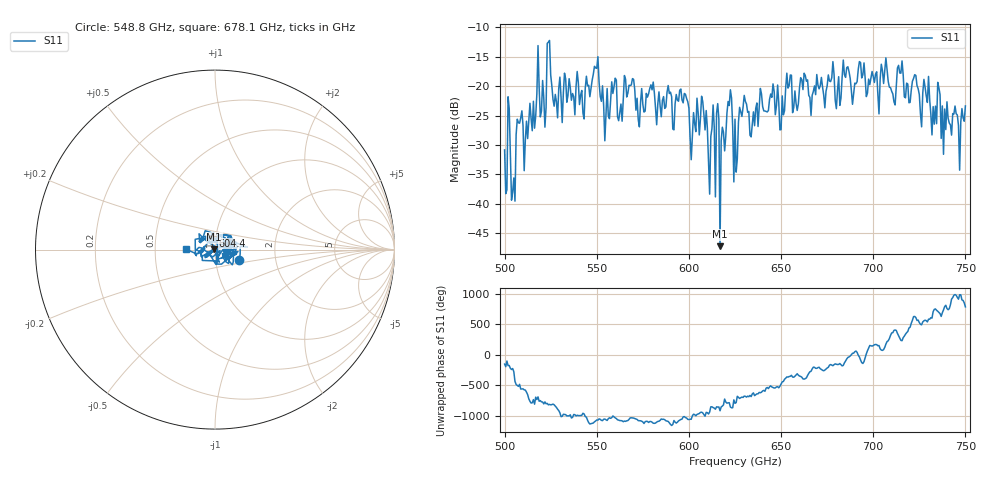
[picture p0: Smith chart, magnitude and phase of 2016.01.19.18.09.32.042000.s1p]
!Created with skrf (http://scikit-rf.org).
# GHz S RI R 50.0
!freq ReS11 ImS11
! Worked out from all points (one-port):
!   401 points, 500 GHz to 750 GHz, reference 50 ohm
!   lowest |S11| = -47.2 dB at 616.9 GHz (marker M1), VSWR 1.01, Z = 49.6 + j0.16 ohm
!   |S11| at or under -10 dB: start of sweep to end of sweep
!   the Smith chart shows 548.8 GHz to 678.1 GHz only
!   S11 on the Smith chart (normalised r, x): 548.8 GHz: 1.30, -0.16; 604.4 GHz: 0.97, +0.15; 678.1 GHz: 0.72, +0.00
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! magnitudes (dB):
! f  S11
! 500 GHz  -30.8
! 503.1 GHz  -32.0
! 504.4 GHz  -37.9
! 508.1 GHz  -26.3
! 511.2 GHz  -29.1
! 521.2 GHz  -22.0
! 524.4 GHz  -12.3
! 527.5 GHz  -21.4
! 531.2 GHz  -26.2
! 541.9 GHz  -20.8
! 548.8 GHz  -16.7
! 562.5 GHz  -24.5
! 568.8 GHz  -19.8
! 572.5 GHz  -25.7
! 593.8 GHz  -22.4
! 604.4 GHz  -22.1
! 616.9 GHz  -47.2
! 621.9 GHz  -23.3
! 625 GHz  -25.6
! 630 GHz  -21.6
! 634.4 GHz  -26.4
! 656.2 GHz  -24.5
! 678.1 GHz  -15.9
! 687.5 GHz  -18.7
! 711.2 GHz  -22.7
! 714.4 GHz  -17.8
! 718.8 GHz  -19.7
! 750 GHz  -23.4
